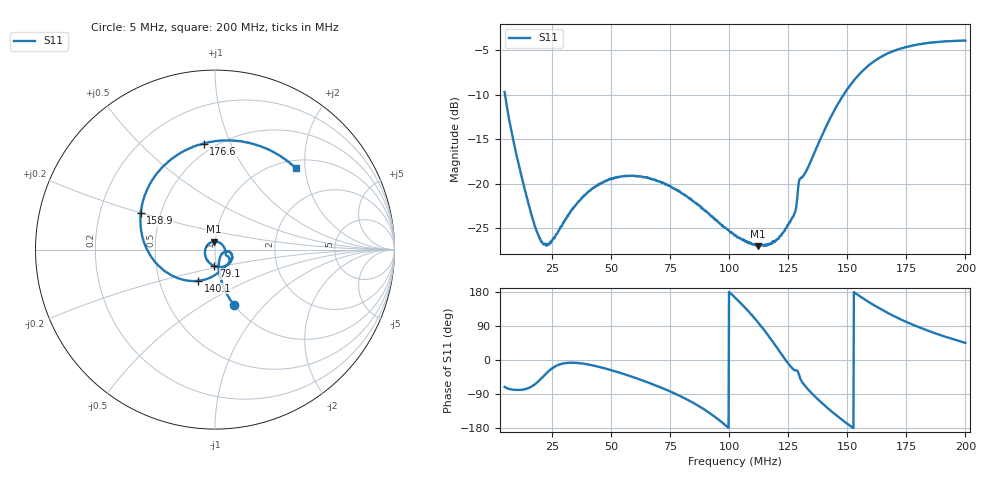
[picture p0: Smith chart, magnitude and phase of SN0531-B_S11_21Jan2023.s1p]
# Hz S DB R 50
! CMT, M5045, 22160017, 22.4.3/2
! Date: 1/21/2023 19:19:19
! Data: Format (Calibration Info)
! Freq	S11:dB/Ang(F1)
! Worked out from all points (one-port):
!   1001 points, 5 MHz to 200 MHz, reference 50 ohm
!   lowest |S11| = -27.0 dB at 112.2 MHz (marker M1), VSWR 1.09, Z = 49.1 + j4.34 ohm
!   |S11| at or under -10 dB: 5.185 MHz to 148.4 MHz (143.3 MHz wide, 187 % of centre)
!   S11 on the Smith chart (normalised r, x): 5 MHz: 1.00, -0.70; 79.1 MHz: 0.97, -0.18; 140.1 MHz: 0.78, -0.28; 158.9 MHz: 0.39, +0.20; 176.6 MHz: 0.44, +0.80; 200 MHz: 1.17, +1.78
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5000000  -9.67 -70.8
1.046e7  -17.27 -78.8
1.592e7  -23.01 -71.5
1.943e7  -25.86 -55.2
2.3525e7  -26.80 -29.7
2.9375e7  -24.65 -9.9
4.0685e7  -20.85 -12.5
5.375e7  -19.21 -33.7
6.5255e7  -19.33 -58.4
7.8125e7  -20.71 -91.8
7.91e7  -20.89 -94.4
9.236e7  -23.60 -142.7
1.025e8  -25.82 164.7
1.1225e8  -27.00 99.1
1.2005e8  -26.33 34.9
1.26875e8  -23.76 -22.3
1.2785e8  -23.23 -27.1
1.3019e8  -19.41 -50.0
1.40135e8  -14.12 -118.4
1.45595e8  -11.24 -147.1
1.5125e8  -8.91 -173.7
1.58855e8  -6.73 154.0
1.6295e8  -5.95 138.7
1.6763e8  -5.29 122.6
1.75625e8  -4.57 98.8
1.766e8  -4.52 96.0
1.86935e8  -4.09 71.2
2e8  -3.90 45.2
